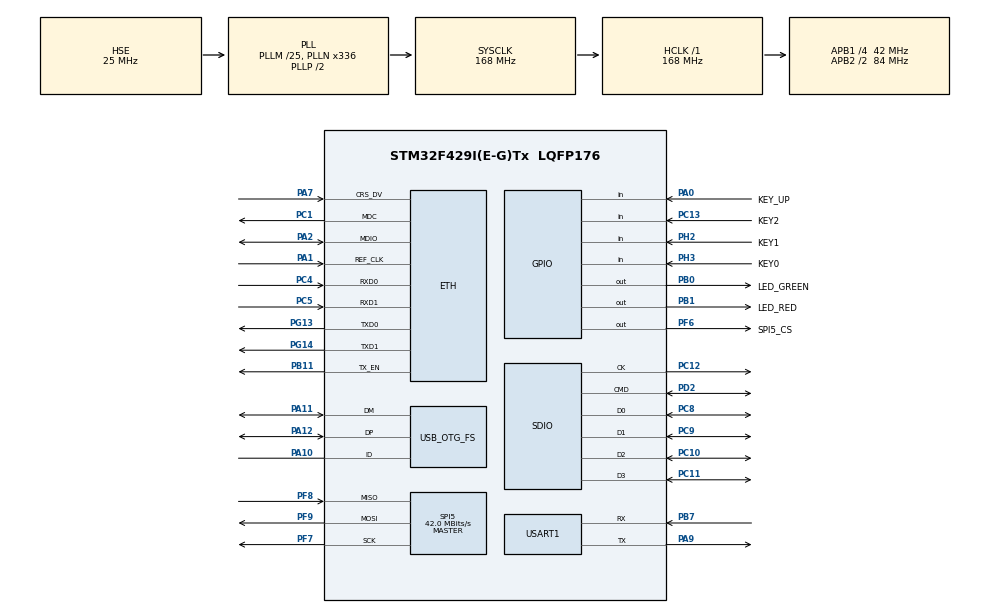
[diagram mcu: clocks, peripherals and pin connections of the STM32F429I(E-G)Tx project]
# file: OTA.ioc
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ETH.MACAddr=02\:00\:00\:00\:F4\:29
ETH.MediaInterface=HAL_ETH_RMII_MODE
FREERTOS.Queues01=SensorDataQueue,8,16,1,Dynamic,NULL,NULL
FREERTOS.Tasks01=defaultTask,24,128,StartDefaultTask,Default,NULL,Dynamic,NULL,NULL;SensorTask,24,512,StartSensorTask,Default,NULL,Dynamic,NULL,NULL;NetworkTask,32,1024,StartNetworkTask,Default,NULL,Dynamic,NULL,NULL
FREERTOS.configTOTAL_HEAP_SIZE=65536
LWIP.BSP.number=1
LWIP.LWIP_DHCP=0
LWIP.Version=v2.1.2_Cube
LWIP0.BSP.STBoard=false
LWIP0.BSP.api=BSP_COMPONENT_DRIVER
LWIP0.BSP.component=LAN8742
LWIP0.BSP.instance=LAN8742
LWIP0.BSP.name=Driver_PHY
LWIP0.BSP.semaphore=S_LAN8742
LWIP0.BSP.solution=LAN8742
Mcu.Family=STM32F4
Mcu.Name=STM32F429I(E-G)Tx
Mcu.Package=LQFP176
NVIC.ETH_IRQn=true\:5\:0\:false\:false\:true\:true\:false\:true\:true
NVIC.PriorityGroup=NVIC_PRIORITYGROUP_4
NVIC.TIM6_DAC_IRQn=true\:15\:0\:false\:false\:true\:false\:false\:true\:true
NVIC.TimeBase=TIM6_DAC_IRQn
NVIC.TimeBaseIP=TIM6
PA0/WKUP.GPIO_Label=KEY_UP
PA0/WKUP.Signal=GPIO_Input
PA1.Mode=RMII
PA1.Signal=ETH_REF_CLK
PA10.Mode=OTG/Dual_Role_Device
PA10.Signal=USB_OTG_FS_ID
PA11.Mode=OTG/Dual_Role_Device
PA11.Signal=USB_OTG_FS_DM
PA12.Mode=OTG/Dual_Role_Device
PA12.Signal=USB_OTG_FS_DP
PA13.Signal=SYS_JTMS-SWDIO
PA14.Signal=SYS_JTCK-SWCLK
PA2.Mode=RMII
PA2.Signal=ETH_MDIO
PA7.Mode=RMII
PA7.Signal=ETH_CRS_DV
PA9.Mode=Asynchronous
PA9.Signal=USART1_TX
PB0.GPIO_Label=LED_GREEN
PB0.Signal=GPIO_Output
PB1.GPIO_Label=LED_RED
PB1.Signal=GPIO_Output
PB11.Mode=RMII
PB11.Signal=ETH_TX_EN
PB7.Mode=Asynchronous
PB7.Signal=USART1_RX
PC1.Mode=RMII
PC1.Signal=ETH_MDC
PC10.Mode=SD_4_bits_Wide_bus
PC10.Signal=SDIO_D2
PC11.Mode=SD_4_bits_Wide_bus
PC11.Signal=SDIO_D3
PC12.Mode=SD_4_bits_Wide_bus
PC12.Signal=SDIO_CK
PC13.GPIO_Label=KEY2
PC13.Signal=GPIO_Input
PC4.Mode=RMII
PC4.Signal=ETH_RXD0
PC5.Mode=RMII
PC5.Signal=ETH_RXD1
PC8.Mode=SD_4_bits_Wide_bus
PC8.Signal=SDIO_D0
PC9.Mode=SD_4_bits_Wide_bus
PC9.Signal=SDIO_D1
PD2.Mode=SD_4_bits_Wide_bus
PD2.Signal=SDIO_CMD
PF6.GPIO_Label=SPI5_CS
PF6.Signal=GPIO_Output
PF7.Mode=Full_Duplex_Master
PF7.Signal=SPI5_SCK
PF8.Mode=Full_Duplex_Master
PF8.Signal=SPI5_MISO
PF9.Mode=Full_Duplex_Master
PF9.Signal=SPI5_MOSI
PG13.Mode=RMII
PG13.Signal=ETH_TXD0
PG14.Mode=RMII
PG14.Signal=ETH_TXD1
PH0/OSC_IN.Mode=HSE-External-Oscillator
PH0/OSC_IN.Signal=RCC_OSC_IN
PH1/OSC_OUT.Mode=HSE-External-Oscillator
PH1/OSC_OUT.Signal=RCC_OSC_OUT
PH2.GPIO_Label=KEY1
PH2.Signal=GPIO_Input
PH3.GPIO_Label=KEY0
PH3.Signal=GPIO_Input
ProjectManager.HeapSize=0x200
ProjectManager.StackSize=0x400
ProjectManager.TargetToolchain=MDK-ARM V5.32
RCC.48MHZClocksFreq_Value=48000000
RCC.AHBFreq_Value=168000000
RCC.APB1CLKDivider=RCC_HCLK_DIV4
RCC.APB1Freq_Value=42000000
RCC.APB1TimFreq_Value=84000000
RCC.APB2CLKDivider=RCC_HCLK_DIV2
RCC.APB2Freq_Value=84000000
RCC.APB2TimFreq_Value=168000000
RCC.CortexFreq_Value=168000000
RCC.HCLKFreq_Value=168000000
RCC.HSE_VALUE=25000000
RCC.HSI_VALUE=16000000
RCC.LSE_VALUE=32768
RCC.PLLM=25
RCC.PLLN=336
RCC.PLLQ=7
RCC.SYSCLKFreq_VALUE=168000000
RCC.SYSCLKSource=RCC_SYSCLKSOURCE_PLLCLK
RCC.VCOOutputFreq_Value=336000000
SPI5.CalculateBaudRate=42.0 MBits/s
SPI5.Direction=SPI_DIRECTION_2LINES
SPI5.Mode=SPI_MODE_MASTER
SPI5.VirtualType=VM_MASTER
USART1.VirtualMode=VM_ASYNC
VP_FATFS_VS_SDIO.Mode=SDIO
VP_FREERTOS_VS_CMSIS_V2.Mode=CMSIS_V2
VP_LWIP_VS_Enabled.Mode=Enabled
VP_SYS_VS_tim6.Mode=TIM6
board=custom

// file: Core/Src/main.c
/* USER CODE BEGIN Header */
/**
  ******************************************************************************
  * @file           : main.c
  * @brief          : Main program body
  ******************************************************************************
  * @attention
  *
  * Copyright (c) 2026 STMicroelectronics.
  * All rights reserved.
  *
  * This software is licensed under terms that can be found in the LICENSE file
  * in the root directory of this software component.
  * If no LICENSE file comes with this software, it is provided AS-IS.
  *
  ******************************************************************************
  */
/* USER CODE END Header */
#include "main.h"
#include "cmsis_os.h"
#include "fatfs.h"
#include "lwip.h"

/* USER CODE BEGIN Includes */
#include <stdio.h>
#include <string.h>
#include <stdlib.h>
#include <stdarg.h>
#include "lwip/sockets.h"
/* USER CODE END Includes */

/* USER CODE BEGIN PTD */
typedef struct
{
  float temperature;
  float humidity;
  float air_quality;
  uint32_t timestamp;
} SensorData_t;

/* 共享设备状态：用互斥锁保护 */
typedef struct
{
  float alarm_threshold;
  SensorData_t latest;
  int has_latest;
} DeviceState_t;

/* 网络状态机 */
typedef enum
{
  NET_STATE_INIT = 0,
  NET_STATE_LINK_DOWN,
  NET_STATE_LINK_UP,
} NetState_t;

/* 日志级别 */
typedef enum
{
  LOG_ERROR = 0,
  LOG_WARN,
  LOG_INFO,
  LOG_DEBUG,
} LogLevel_t;
/* USER CODE END PTD */

SD_HandleTypeDef hsd;

SPI_HandleTypeDef hspi5;

UART_HandleTypeDef huart1;

/* Definitions for defaultTask */
osThreadId_t defaultTaskHandle;
const osThreadAttr_t defaultTask_attributes = {
  .name = "defaultTask",
  .stack_size = 128 * 4,
  .priority = (osPriority_t) osPriorityNormal,
};
/* Definitions for SensorTask */
osThreadId_t SensorTaskHandle;
const osThreadAttr_t SensorTask_attributes = {
  .name = "SensorTask",
  .stack_size = 512 * 4,
  .priority = (osPriority_t) osPriorityNormal,
};
/* Definitions for NetworkTask */
osThreadId_t NetworkTaskHandle;
const osThreadAttr_t NetworkTask_attributes = {
  .name = "NetworkTask",
  .stack_size = 1024 * 4,
  .priority = (osPriority_t) osPriorityAboveNormal,
};
/* Definitions for SensorDataQueue */
osMessageQueueId_t SensorDataQueueHandle;
const osMessageQueueAttr_t SensorDataQueue_attributes = {
  .name = "SensorDataQueue"
};
/* USER CODE BEGIN PV */
volatile int lwip_ready = 0;
DeviceState_t g_state = { 26.5f, {0.0f, 0.0f, 0.0f, 0u}, 0 };
osMutexId_t g_state_mutex = NULL;
extern struct netif gnetif;

/* ===== 日志系统：环形缓冲区 + LogTask ===== */
#define LOG_BUF_SIZE 2048u
static char log_ring[LOG_BUF_SIZE];
static volatile uint32_t log_rd = 0u;
static volatile uint32_t log_wr = 0u;
static uint32_t log_high_water = 0u;
static osMutexId_t log_mutex = NULL;
static LogLevel_t g_log_level = LOG_DEBUG;
osThreadId_t LogTaskHandle = NULL;
const osThreadAttr_t LogTask_attributes = {
  .name = "LogTask",
  .stack_size = 512 * 4,
  .priority = (osPriority_t) osPriorityLow,
};
/* USER CODE END PV */

void SystemClock_Config(void);
static void MX_GPIO_Init(void);
static void MX_SPI5_Init(void);
static void MX_USART1_UART_Init(void);
static void MX_USB_OTG_FS_USB_Init(void);
static void MX_SDIO_SD_Init(void);
void StartDefaultTask(void *argument);
void StartSensorTask(void *argument);
void StartNetworkTask(void *argument);

/* USER CODE BEGIN PFP */
void StartLogTask(void *argument);
/* USER CODE END PFP */

/* USER CODE BEGIN 0 */
/* MicroLIB 的 printf 不支持 %f，这里把 float 转成 "xx.x" 文本 */
static void ftoa_1(char *buf, float v)
{
  int ip = (int)v;
  int dp = (int)((v - (float)ip) * 10.0f + 0.5f);
  if (dp < 0)
  {
    dp = -dp;
  }
  if (dp >= 10)
  {
    dp = 0;
    ip++;
  }
  sprintf(buf, "%d.%d", ip, dp);
}

/* ===== 命令处理：函数指针 + 命令表 ===== */
#define FW_VERSION "1.0.0"

typedef struct
{
  const char *name;
  void (*handler)(int conn_fd, const char *args);
} CommandEntry_t;

static void send_str(int conn_fd, const char *s)
{
  lwip_send(conn_fd, s, strlen(s), 0);
}

static void cmd_version(int conn_fd, const char *args)
{
  (void)args;
  send_str(conn_fd, "OTA v" FW_VERSION "\r\n");
}

static void cmd_uptime(int conn_fd, const char *args)
{
  char buf[32];
  (void)args;
  sprintf(buf, "UPTIME=%lu s\r\n", (unsigned long)(HAL_GetTick() / 1000u));
  send_str(conn_fd, buf);
}

static void cmd_sensor(int conn_fd, const char *args)
{
  char buf[96], t[8], h[8], a[8];
  SensorData_t d;
  int has;
  (void)args;

  osMutexAcquire(g_state_mutex, osWaitForever);
  d = g_state.latest;
  has = g_state.has_latest;
  osMutexRelease(g_state_mutex);

  if (!has)
  {
    send_str(conn_fd, "SENSOR: no data yet\r\n");
    return;
  }

  ftoa_1(t, d.temperature);
  ftoa_1(h, d.humidity);
  ftoa_1(a, d.air_quality);
  sprintf(buf, "SENSOR T=%s H=%s A=%s TS=%lu\r\n", t, h, a, (unsigned long)d.timestamp);
  send_str(conn_fd, buf);
}

static void cmd_status(int conn_fd, const char *args)
{
  char buf[64];
  (void)args;
  sprintf(buf, "IP=192.168.31.20 PORT=5000 UPTIME=%lu s\r\n",
          (unsigned long)(HAL_GetTick() / 1000u));
  send_str(conn_fd, buf);
}

static void cmd_set_alarm(int conn_fd, const char *args)
{
  char buf[32];
  int val;

  if (args == NULL || *args == '\0')
  {
    send_str(conn_fd, "USAGE: SET_ALARM <temp>\r\n");
    return;
  }

  val = atoi(args);
  osMutexAcquire(g_state_mutex, osWaitForever);
  g_state.alarm_threshold = (float)val;
  osMutexRelease(g_state_mutex);

  sprintf(buf, "ALARM set to %d C\r\n", val);
  send_str(conn_fd, buf);
}

static void cmd_led_on(int conn_fd, const char *args)
{
  (void)args;
  HAL_GPIO_WritePin(LED_RED_GPIO_Port, LED_RED_Pin, GPIO_PIN_RESET);
  send_str(conn_fd, "LED ON\r\n");
}

static void cmd_led_off(int conn_fd, const char *args)
{
  (void)args;
  HAL_GPIO_WritePin(LED_RED_GPIO_Port, LED_RED_Pin, GPIO_PIN_SET);
  send_str(conn_fd, "LED OFF\r\n");
}

static void cmd_logstat(int conn_fd, const char *args)
{
  char buf[96];
  uint32_t used, high;
  DWORD fsize = 0;
  (void)args;

  osMutexAcquire(log_mutex, osWaitForever);
  used = (log_wr - log_rd + LOG_BUF_SIZE) % LOG_BUF_SIZE;
  high = log_high_water;
  osMutexRelease(log_mutex);

  if (sd_log_ok)
  {
    fsize = (DWORD)f_size(&sd_log_file);
  }

  sprintf(buf, "LOG buf used=%lu/%u high=%lu file=%lu\r\n",
          (unsigned long)used, (unsigned int)LOG_BUF_SIZE,
          (unsigned long)high, (unsigned long)fsize);
  send_str(conn_fd, buf);
}

static void cmd_log_read(int conn_fd, const char *args)
{
  FIL f;
  char buf[256];
  UINT br;
  FRESULT res;
  int max_bytes = 4096;
  int sent = 0;
  (void)args;

  if (!sd_log_ok)
  {
    send_str(conn_fd, "LOG_READ: SD log not ready\r\n");
    return;
  }

  /* 先把正在写的文件同步落盘 */
  f_sync(&sd_log_file);

  res = f_open(&f, "0:/log.txt", FA_READ);
  if (res != FR_OK)
  {
    send_str(conn_fd, "LOG_READ: open failed\r\n");
    return;
  }

  while (sent < max_bytes)
  {
    res = f_read(&f, buf, sizeof(buf), &br);
    if (res != FR_OK || br == 0u)
    {
      break;
    }
    lwip_send(conn_fd, buf, br, 0);
    sent += (int)br;
  }

  f_close(&f);
  send_str(conn_fd, "\r\n-- LOG END --\r\n");
}

static void cmd_test_hang(int conn_fd, const char *args)
{
  (void)args;
  send_str(conn_fd, "hanging, reset in ~4s\r\n");

  /* 故意死循环，停止喂狗，约 4 秒后 IWDG 复位整个系统 */
  while (1)
  {
    __NOP();
  }
}

static const CommandEntry_t cmd_table[] =
{
  { "VERSION",   cmd_version },
  { "UPTIME",    cmd_uptime },
  { "SENSOR",    cmd_sensor },
  { "STATUS",    cmd_status },
  { "SET_ALARM", cmd_set_alarm },
  { "LED_ON",    cmd_led_on },
  { "LED_OFF",   cmd_led_off },
  { "LOG_STAT",  cmd_logstat },
  { "LOG_READ",  cmd_log_read },
  { "TEST_HANG", cmd_test_hang },
  { NULL,        NULL }
};

static void command_dispatch(int conn_fd, char *line)
{
  char *cmd, *args = NULL, *sp;
  size_t len = strlen(line);
  uint32_t i;

  /* 去掉行尾 \r / \n */
  while (len > 0u && (line[len - 1u] == '\r' || line[len - 1u] == '\n'))
  {
    line[--len] = '\0';
  }

  cmd = line;
  sp = strchr(cmd, ' ');
  if (sp != NULL)
  {
    *sp = '\0';
    args = sp + 1;
  }

  for (i = 0u; cmd_table[i].name != NULL; i++)
  {
    if (strcmp(cmd_table[i].name, cmd) == 0)
    {
      cmd_table[i].handler(conn_fd, args);
      return;
    }
  }

  send_str(conn_fd, "ERR unknown command\r\n");
}

/* ===== 日志系统 ===== */
static const char *log_level_str(LogLevel_t level)
{
  switch (level)
  {
  case LOG_ERROR: return "ERR";
  case LOG_WARN:  return "WRN";
  case LOG_INFO:  return "INF";
  case LOG_DEBUG: return "DBG";
  default:        return "???";
  }
}

/* 写一条日志到环形缓冲区，并通知 LogTask 输出 */
void log_write(LogLevel_t level, const char *fmt, ...)
{
  char msg[128];
  char line[176];
  int n, i;
  va_list ap;

  if (level > g_log_level)
  {
    return;
  }

  va_start(ap, fmt);
  vsnprintf(msg, sizeof(msg), fmt, ap);
  va_end(ap);

  n = sprintf(line, "[%6lus][%s] %s\r\n",
              (unsigned long)(HAL_GetTick() / 1000u), log_level_str(level), msg);

  /* 日志系统还没初始化时，直接输出 */
  if (log_mutex == NULL)
  {
    printf("%s", line);
    return;
  }

  osMutexAcquire(log_mutex, osWaitForever);
  for (i = 0; i < n; i++)
  {
    uint32_t next = (log_wr + 1u) % LOG_BUF_SIZE;
    if (next == log_rd)
    {
      log_rd = (log_rd + 1u) % LOG_BUF_SIZE;  /* 满了，丢最旧一个字节 */
    }
    log_ring[log_wr] = line[i];
    log_wr = next;
  }
  {
    uint32_t used = (log_wr - log_rd + LOG_BUF_SIZE) % LOG_BUF_SIZE;
    if (used > log_high_water)
    {
      log_high_water = used;
    }
  }
  osMutexRelease(log_mutex);

  if (LogTaskHandle != NULL)
  {
    osThreadFlagsSet(LogTaskHandle, 0x01u);
  }
}

/* ===== IWDG 独立看门狗（直接操作寄存器，超时约 4 秒） ===== */
static void IWDG_Start(void)
{
  /* 1. 使能 LSI（IWDG 的时钟源，约 32kHz） */
  RCC->CSR |= RCC_CSR_LSION;
  while ((RCC->CSR & RCC_CSR_LSIRDY) == 0u)
  {
  }

  /* 2. 解锁 PR / RLR 寄存器 */
  IWDG->KR = 0x5555u;

  /* 3. 预分频 /64：32kHz / 64 = 500Hz，每 tick 2ms */
  IWDG->PR = 0x04u;

  /* 4. 重装载值 2000：2000 * 2ms = 4 秒 */
  IWDG->RLR = 2000u;

  /* 5. 启动 IWDG（一旦启动无法停止，只能复位） */
  IWDG->KR = 0xCCCCu;

  /* 6. 首次喂狗 */
  IWDG->KR = 0xAAAAu;
}

static void IWDG_Feed(void)
{
  IWDG->KR = 0xAAAAu;
}
/* USER CODE END 0 */

int main(void)
{

  /* MCU Configuration--------------------------------------------------------*/

  /* Reset of all peripherals, Initializes the Flash interface and the Systick. */
  HAL_Init();

  /* Configure the system clock */
  SystemClock_Config();

  /* Initialize all configured peripherals */
  MX_GPIO_Init();
  MX_SPI5_Init();
  MX_USART1_UART_Init();
  MX_USB_OTG_FS_USB_Init();
  MX_SDIO_SD_Init();
  MX_FATFS_Init();
  /* USER CODE BEGIN 2 */
  log_write(LOG_INFO, "OTA board boot OK");
  log_write(LOG_INFO, "SYSCLK = %lu MHz", SystemCoreClock / 1000000UL);
  log_write(LOG_INFO, "FreeRTOS starting...");
  HAL_GPIO_WritePin(LED_RED_GPIO_Port, LED_RED_Pin,GPIO_PIN_RESET);
  HAL_GPIO_WritePin(LED_GREEN_GPIO_Port, LED_GREEN_Pin,GPIO_PIN_SET);
  IWDG_Start();
  /* USER CODE END 2 */

  /* Init scheduler */
  osKernelInitialize();

  /* USER CODE BEGIN RTOS_MUTEX */
  /* add mutexes, ... */
  g_state_mutex = osMutexNew(NULL);
  log_mutex = osMutexNew(NULL);
  /* USER CODE END RTOS_MUTEX */

  /* Create the queue(s) */
  /* creation of SensorDataQueue */
  SensorDataQueueHandle = osMessageQueueNew (8, 16, &SensorDataQueue_attributes);

  /* Create the thread(s) */
  /* creation of defaultTask */
  defaultTaskHandle = osThreadNew(StartDefaultTask, NULL, &defaultTask_attributes);

  /* creation of SensorTask */
  SensorTaskHandle = osThreadNew(StartSensorTask, NULL, &SensorTask_attributes);

  /* creation of NetworkTask */
  NetworkTaskHandle = osThreadNew(StartNetworkTask, NULL, &NetworkTask_attributes);

  /* USER CODE BEGIN RTOS_THREADS */
  /* add threads, ... */
  LogTaskHandle = osThreadNew(StartLogTask, NULL, &LogTask_attributes);
  /* USER CODE END RTOS_THREADS */

  /* Start scheduler */
  osKernelStart();

  /* We should never get here as control is now taken by the scheduler */

  /* Infinite loop */
  while (1)
  {

  }
}

void SystemClock_Config(void)
{
  RCC_OscInitTypeDef RCC_OscInitStruct = {0};
  RCC_ClkInitTypeDef RCC_ClkInitStruct = {0};

  /** Configure the main internal regulator output voltage
  */
  __HAL_RCC_PWR_CLK_ENABLE();
  __HAL_PWR_VOLTAGESCALING_CONFIG(PWR_REGULATOR_VOLTAGE_SCALE1);

  /** Initializes the RCC Oscillators according to the specified parameters
  * in the RCC_OscInitTypeDef structure.
  */
  RCC_OscInitStruct.OscillatorType = RCC_OSCILLATORTYPE_HSE;
  RCC_OscInitStruct.HSEState = RCC_HSE_ON;
  RCC_OscInitStruct.PLL.PLLState = RCC_PLL_ON;
  RCC_OscInitStruct.PLL.PLLSource = RCC_PLLSOURCE_HSE;
  RCC_OscInitStruct.PLL.PLLM = 25;
  RCC_OscInitStruct.PLL.PLLN = 336;
  RCC_OscInitStruct.PLL.PLLP = RCC_PLLP_DIV2;
  RCC_OscInitStruct.PLL.PLLQ = 7;
  if (HAL_RCC_OscConfig(&RCC_OscInitStruct) != HAL_OK)
  {
    Error_Handler();
  }

  /** Initializes the CPU, AHB and APB buses clocks
  */
  RCC_ClkInitStruct.ClockType = RCC_CLOCKTYPE_HCLK|RCC_CLOCKTYPE_SYSCLK
                              |RCC_CLOCKTYPE_PCLK1|RCC_CLOCKTYPE_PCLK2;
  RCC_ClkInitStruct.SYSCLKSource = RCC_SYSCLKSOURCE_PLLCLK;
  RCC_ClkInitStruct.AHBCLKDivider = RCC_SYSCLK_DIV1;
  RCC_ClkInitStruct.APB1CLKDivider = RCC_HCLK_DIV4;
  RCC_ClkInitStruct.APB2CLKDivider = RCC_HCLK_DIV2;

  if (HAL_RCC_ClockConfig(&RCC_ClkInitStruct, FLASH_LATENCY_5) != HAL_OK)
  {
    Error_Handler();
  }
}

static void MX_SDIO_SD_Init(void)
{

  hsd.Instance = SDIO;
  hsd.Init.ClockEdge = SDIO_CLOCK_EDGE_RISING;
  hsd.Init.ClockBypass = SDIO_CLOCK_BYPASS_DISABLE;
  hsd.Init.ClockPowerSave = SDIO_CLOCK_POWER_SAVE_DISABLE;
  hsd.Init.BusWide = SDIO_BUS_WIDE_1B;
  hsd.Init.HardwareFlowControl = SDIO_HARDWARE_FLOW_CONTROL_DISABLE;
  hsd.Init.ClockDiv = 0;

}

static void MX_SPI5_Init(void)
{

  /* SPI5 parameter configuration*/
  hspi5.Instance = SPI5;
  hspi5.Init.Mode = SPI_MODE_MASTER;
  hspi5.Init.Direction = SPI_DIRECTION_2LINES;
  hspi5.Init.DataSize = SPI_DATASIZE_8BIT;
  hspi5.Init.CLKPolarity = SPI_POLARITY_LOW;
  hspi5.Init.CLKPhase = SPI_PHASE_1EDGE;
  hspi5.Init.NSS = SPI_NSS_SOFT;
  hspi5.Init.BaudRatePrescaler = SPI_BAUDRATEPRESCALER_2;
  hspi5.Init.FirstBit = SPI_FIRSTBIT_MSB;
  hspi5.Init.TIMode = SPI_TIMODE_DISABLE;
  hspi5.Init.CRCCalculation = SPI_CRCCALCULATION_DISABLE;
  hspi5.Init.CRCPolynomial = 10;
  if (HAL_SPI_Init(&hspi5) != HAL_OK)
  {
    Error_Handler();
  }

}

static void MX_USART1_UART_Init(void)
{

  huart1.Instance = USART1;
  huart1.Init.BaudRate = 115200;
  huart1.Init.WordLength = UART_WORDLENGTH_8B;
  huart1.Init.StopBits = UART_STOPBITS_1;
  huart1.Init.Parity = UART_PARITY_NONE;
  huart1.Init.Mode = UART_MODE_TX_RX;
  huart1.Init.HwFlowCtl = UART_HWCONTROL_NONE;
  huart1.Init.OverSampling = UART_OVERSAMPLING_16;
  if (HAL_UART_Init(&huart1) != HAL_OK)
  {
    Error_Handler();
  }

}

static void MX_USB_OTG_FS_USB_Init(void)
{

}

static void MX_GPIO_Init(void)
{
  GPIO_InitTypeDef GPIO_InitStruct = {0};

  /* GPIO Ports Clock Enable */
  __HAL_RCC_GPIOC_CLK_ENABLE();
  __HAL_RCC_GPIOF_CLK_ENABLE();
  __HAL_RCC_GPIOH_CLK_ENABLE();
  __HAL_RCC_GPIOA_CLK_ENABLE();
  __HAL_RCC_GPIOB_CLK_ENABLE();
  __HAL_RCC_GPIOD_CLK_ENABLE();
  __HAL_RCC_GPIOG_CLK_ENABLE();

  /*Configure GPIO pin Output Level */
  HAL_GPIO_WritePin(SPI5_CS_GPIO_Port, SPI5_CS_Pin, GPIO_PIN_RESET);

  /*Configure GPIO pin Output Level */
  HAL_GPIO_WritePin(GPIOB, LED_GREEN_Pin|LED_RED_Pin, GPIO_PIN_RESET);

  /*Configure GPIO pin : KEY2_Pin */
  GPIO_InitStruct.Pin = KEY2_Pin;
  GPIO_InitStruct.Mode = GPIO_MODE_INPUT;
  GPIO_InitStruct.Pull = GPIO_NOPULL;
  HAL_GPIO_Init(KEY2_GPIO_Port, &GPIO_InitStruct);

  /*Configure GPIO pin : SPI5_CS_Pin */
  GPIO_InitStruct.Pin = SPI5_CS_Pin;
  GPIO_InitStruct.Mode = GPIO_MODE_OUTPUT_PP;
  GPIO_InitStruct.Pull = GPIO_NOPULL;
  GPIO_InitStruct.Speed = GPIO_SPEED_FREQ_LOW;
  HAL_GPIO_Init(SPI5_CS_GPIO_Port, &GPIO_InitStruct);

  /*Configure GPIO pin : KEY_UP_Pin */
  GPIO_InitStruct.Pin = KEY_UP_Pin;
  GPIO_InitStruct.Mode = GPIO_MODE_INPUT;
  GPIO_InitStruct.Pull = GPIO_NOPULL;
  HAL_GPIO_Init(KEY_UP_GPIO_Port, &GPIO_InitStruct);

  /*Configure GPIO pins : KEY1_Pin KEY0_Pin */
  GPIO_InitStruct.Pin = KEY1_Pin|KEY0_Pin;
  GPIO_InitStruct.Mode = GPIO_MODE_INPUT;
  GPIO_InitStruct.Pull = GPIO_NOPULL;
  HAL_GPIO_Init(GPIOH, &GPIO_InitStruct);

  /*Configure GPIO pins : LED_GREEN_Pin LED_RED_Pin */
  GPIO_InitStruct.Pin = LED_GREEN_Pin|LED_RED_Pin;
  GPIO_InitStruct.Mode = GPIO_MODE_OUTPUT_PP;
  GPIO_InitStruct.Pull = GPIO_NOPULL;
  GPIO_InitStruct.Speed = GPIO_SPEED_FREQ_LOW;
  HAL_GPIO_Init(GPIOB, &GPIO_InitStruct);

  /*Configure GPIO pins : PA10 PA11 PA12 */
  GPIO_InitStruct.Pin = GPIO_PIN_10|GPIO_PIN_11|GPIO_PIN_12;
  GPIO_InitStruct.Mode = GPIO_MODE_AF_PP;
  GPIO_InitStruct.Pull = GPIO_NOPULL;
  GPIO_InitStruct.Speed = GPIO_SPEED_FREQ_VERY_HIGH;
  GPIO_InitStruct.Alternate = GPIO_AF10_OTG_FS;
  HAL_GPIO_Init(GPIOA, &GPIO_InitStruct);

}

/* USER CODE BEGIN 4 */
int fputc(int ch, FILE *f)
{
  HAL_UART_Transmit(&huart1, (uint8_t *)&ch, 1, HAL_MAX_DELAY);
  return ch;
}

/* 日志输出任务：等通知后把环形缓冲区里的日志打印到串口，并写到 SD 卡 */
void StartLogTask(void *argument)
{
  char chunk[128];
  UINT bw = 0u;
  (void)argument;

  for(;;)
  {
    osThreadFlagsWait(0x01u, osFlagsWaitAny, osWaitForever);

    for(;;)
    {
      uint32_t n = 0u;

      osMutexAcquire(log_mutex, osWaitForever);
      while (n < sizeof(chunk) - 1u && log_rd != log_wr)
      {
        chunk[n++] = log_ring[log_rd];
        log_rd = (log_rd + 1u) % LOG_BUF_SIZE;
      }
      osMutexRelease(log_mutex);

      if (n == 0u)
      {
        break;
      }

      chunk[n] = '\0';
      printf("%s", chunk);

      if (sd_log_ok)
      {
        f_write(&sd_log_file, chunk, n, &bw);
      }
    }

    /* 每批日志写完同步一次，避免掉电丢数据 */
    if (sd_log_ok)
    {
      f_sync(&sd_log_file);
    }
  }
}
/* USER CODE END 4 */

void StartDefaultTask(void *argument)
{
  /* init code for LWIP */
  MX_LWIP_Init();
  /* USER CODE BEGIN 5 */
  lwip_ready = 1;
  IWDG_Feed();

  /* 挂载 SD 卡并打开日志文件（必须在调度器启动之后） */
  if (f_mount(&SDFatFS, SDPath, 1) == FR_OK)
  {
    if (f_open(&sd_log_file, "0:/log.txt", FA_CREATE_ALWAYS | FA_WRITE) == FR_OK)
    {
      sd_log_ok = 1;
      log_write(LOG_INFO, "SD log ready");
    }
    else
    {
      log_write(LOG_ERROR, "SD log open failed");
    }
  }
  else
  {
    log_write(LOG_ERROR, "SD mount failed");
  }

  /* Infinite loop：每 1 秒喂一次狗 */
  for(;;)
  {
    IWDG_Feed();
    osDelay(1000);
  }
  /* USER CODE END 5 */
}

void StartSensorTask(void *argument)
{
  /* USER CODE BEGIN StartSensorTask */
  SensorData_t data;
  float temp_hist[5] = {0.0f};
  float humi_hist[5] = {0.0f};
  float temp_raw, humi_raw, air_raw;
  float temp_sum, humi_sum;
  float alarm_thr;
  uint32_t rng = 12345u;
  uint32_t idx = 0u;
  uint32_t i;

  for(;;)
  {
    /* 模拟传感器原始值（真实项目里这里替换成实际传感器读取） */
    rng = rng * 1103515245u + 12345u;
    temp_raw = 25.0f + 2.0f * ((float)((rng >> 16) & 0x7FFFu) / 32767.0f);
    rng = rng * 1103515245u + 12345u;
    humi_raw = 55.0f + 10.0f * ((float)((rng >> 16) & 0x7FFFu) / 32767.0f);
    rng = rng * 1103515245u + 12345u;
    air_raw  = 60.0f + 40.0f * ((float)((rng >> 16) & 0x7FFFu) / 32767.0f);

    /* 滑动平均滤波（窗口 5） */
    temp_hist[idx % 5u] = temp_raw;
    humi_hist[idx % 5u] = humi_raw;
    temp_sum = 0.0f;
    humi_sum = 0.0f;
    for (i = 0u; i < 5u; i++)
    {
      temp_sum += temp_hist[i];
      humi_sum += humi_hist[i];
    }

    data.temperature = temp_sum / 5.0f;
    data.humidity    = humi_sum / 5.0f;
    data.air_quality = air_raw;
    data.timestamp   = HAL_GetTick() / 1000u;

    /* 更新共享状态，并读取报警阈值（互斥锁保护） */
    osMutexAcquire(g_state_mutex, osWaitForever);
    g_state.latest = data;
    g_state.has_latest = 1;
    alarm_thr = g_state.alarm_threshold;
    osMutexRelease(g_state_mutex);

    /* 阈值判断 */
    if (data.temperature > alarm_thr)
    {
      log_write(LOG_WARN, "high temperature alarm!");
    }

    /* 放进消息队列，交给 NetworkTask */
    if (osMessageQueuePut(SensorDataQueueHandle, &data, 0u, 0u) != osOK)
    {
      log_write(LOG_WARN, "sensor queue full");
    }

    idx++;
    osDelay(5000);
  }
  /* USER CODE END StartSensorTask */
}

void StartNetworkTask(void *argument)
{
  /* USER CODE BEGIN StartNetworkTask */
  int listen_fd = -1, conn_fd = -1, udp_fd = -1;
  struct sockaddr_in server_addr, client_addr, udp_dst;
  ip4_addr_t udp_ip;
  socklen_t client_addr_len = sizeof(client_addr);
  char rx_buf[256];
  char tx_line[128];
  char t_str[8], h_str[8], a_str[8];
  int rx_len, tx_len, flags;
  SensorData_t sensor_data;
  NetState_t net_state = NET_STATE_INIT;
  uint32_t last_link_check = 0u;
  uint32_t last_hb = 0u;
  uint32_t hb_seq = 0u;

  /* 等待 LwIP 初始化完成（defaultTask 里 MX_LWIP_Init 后会置位） */
  while (lwip_ready == 0)
  {
    osDelay(10);
  }

  /* 建立 TCP 监听 socket，失败就重试 */
  for(;;)
  {
    listen_fd = lwip_socket(AF_INET, SOCK_STREAM, 0);
    if (listen_fd < 0)
    {
      log_write(LOG_ERROR, "TCP socket() error %d", listen_fd);
      osDelay(1000);
      continue;
    }

    memset(&server_addr, 0, sizeof(server_addr));
    server_addr.sin_family = AF_INET;
    server_addr.sin_addr.s_addr = htonl(INADDR_ANY);
    server_addr.sin_port = htons(5000);

    if (lwip_bind(listen_fd, (struct sockaddr *)&server_addr, sizeof(server_addr)) < 0)
    {
      log_write(LOG_ERROR, "TCP bind() error");
      lwip_close(listen_fd);
      osDelay(1000);
      continue;
    }

    if (lwip_listen(listen_fd, 1) < 0)
    {
      log_write(LOG_ERROR, "TCP listen() error");
      lwip_close(listen_fd);
      osDelay(1000);
      continue;
    }

    /* 把监听 socket 设为非阻塞 */
    flags = lwip_fcntl(listen_fd, F_GETFL, 0);
    lwip_fcntl(listen_fd, F_SETFL, flags | O_NONBLOCK);

    log_write(LOG_INFO, "TCP server ready, port 5000");
    break;
  }

  /* 创建 UDP socket，用于周期上报传感器数据（目标：电脑 192.168.31.121:6000） */
  udp_fd = lwip_socket(AF_INET, SOCK_DGRAM, 0);
  if (udp_fd >= 0)
  {
    memset(&udp_dst, 0, sizeof(udp_dst));
    udp_dst.sin_family = AF_INET;
    IP4_ADDR(&udp_ip, 192, 168, 31, 121);
    udp_dst.sin_addr.s_addr = udp_ip.addr;
    udp_dst.sin_port = htons(6000);
    log_write(LOG_INFO, "UDP report target 192.168.31.121:6000");
  }
  else
  {
    log_write(LOG_ERROR, "UDP socket() error %d", udp_fd);
  }

  /* 事件循环：接受连接 + 处理命令 + 通过 UDP 上报传感器数据 */
  for(;;)
  {
    /* 1. 接受连接（非阻塞） */
    if (conn_fd < 0)
    {
      conn_fd = lwip_accept(listen_fd, (struct sockaddr *)&client_addr, &client_addr_len);
      if (conn_fd >= 0)
      {
        log_write(LOG_INFO, "client connected");
        flags = lwip_fcntl(conn_fd, F_GETFL, 0);
        lwip_fcntl(conn_fd, F_SETFL, flags | O_NONBLOCK);
      }
    }

    /* 2. 收命令（非阻塞） */
    if (conn_fd >= 0)
    {
      rx_len = lwip_recv(conn_fd, rx_buf, sizeof(rx_buf) - 1, 0);
      if (rx_len > 0)
      {
        rx_buf[rx_len] = '\0';
        log_write(LOG_DEBUG, "RX(%d): %s", rx_len, rx_buf);

        command_dispatch(conn_fd, rx_buf);
      }
      else if (rx_len == 0)
      {
        lwip_close(conn_fd);
        conn_fd = -1;
        log_write(LOG_INFO, "client disconnected");
      }
      /* rx_len < 0：非阻塞模式下无数据，忽略 */
    }

    /* 3. 从队列取传感器数据，通过 UDP 上报 */
    if (osMessageQueueGet(SensorDataQueueHandle, &sensor_data, NULL, 0u) == osOK)
    {
      ftoa_1(t_str, sensor_data.temperature);
      ftoa_1(h_str, sensor_data.humidity);
      ftoa_1(a_str, sensor_data.air_quality);
      tx_len = sprintf(tx_line, "T=%s H=%s A=%s TS=%lu\r\n",
                       t_str, h_str, a_str, (unsigned long)sensor_data.timestamp);
      if (udp_fd >= 0)
      {
        lwip_sendto(udp_fd, tx_line, tx_len, 0,
                    (struct sockaddr *)&udp_dst, sizeof(udp_dst));
      }
      log_write(LOG_DEBUG, "UDP report sent");
    }

    /* 4. 网络状态机 + 心跳 */
    {
      uint32_t now = HAL_GetTick();
      NetState_t s;

      /* 每 500ms 检查一次链路状态，只在变化时报告 */
      if (now - last_link_check >= 500u)
      {
        last_link_check = now;
        s = netif_is_link_up(&gnetif) ? NET_STATE_LINK_UP : NET_STATE_LINK_DOWN;
        if (s != net_state)
        {
          net_state = s;
          log_write(LOG_INFO, "link state: %s", (s == NET_STATE_LINK_UP) ? "LINK_UP" : "LINK_DOWN");
        }
      }

      /* 每 5 秒发一次心跳 */
      if (now - last_hb >= 5000u)
      {
        last_hb = now;
        hb_seq++;
        tx_len = sprintf(tx_line, "HB seq=%lu uptime=%lu\r\n",
                         (unsigned long)hb_seq, (unsigned long)(HAL_GetTick() / 1000u));
        if (udp_fd >= 0)
        {
          lwip_sendto(udp_fd, tx_line, tx_len, 0,
                      (struct sockaddr *)&udp_dst, sizeof(udp_dst));
        }
        log_write(LOG_DEBUG, "heartbeat seq=%lu", (unsigned long)hb_seq);
      }
    }

    osDelay(10);
  }
  /* USER CODE END StartNetworkTask */
}

void HAL_TIM_PeriodElapsedCallback(TIM_HandleTypeDef *htim)
{
  if (htim->Instance == TIM6)
  {
    HAL_IncTick();
  }
}

void Error_Handler(void)
{
  __disable_irq();
  while (1)
  {
  }
}
